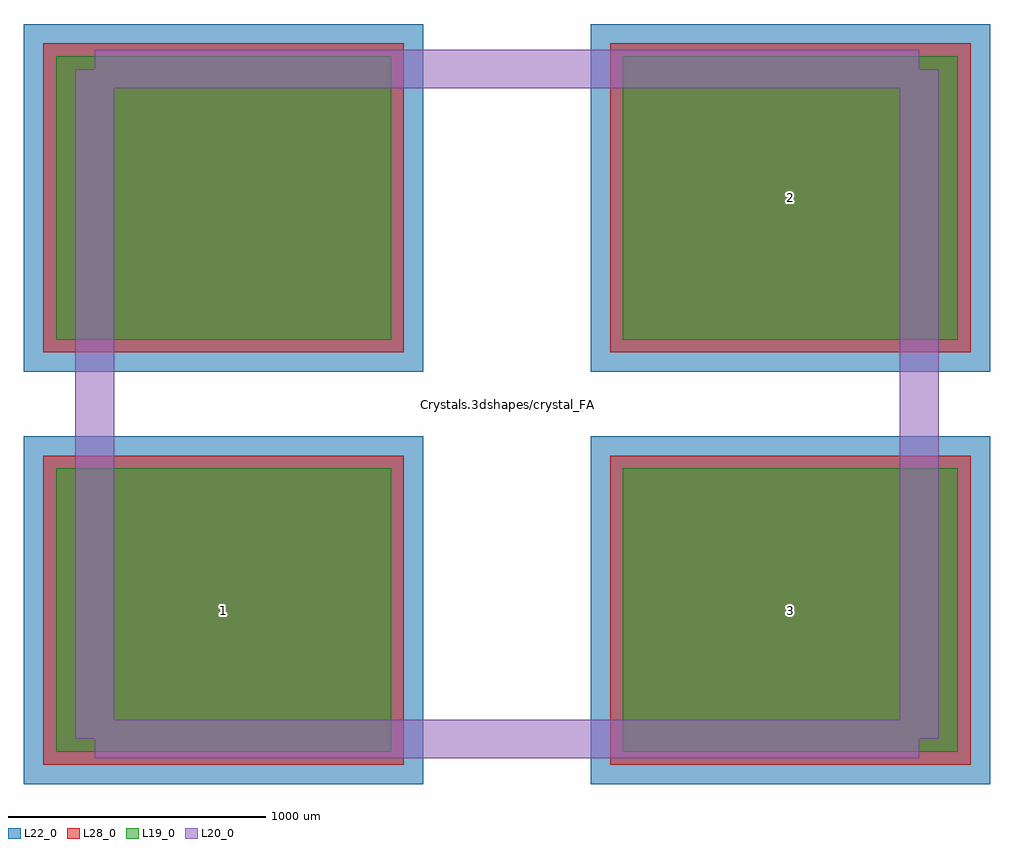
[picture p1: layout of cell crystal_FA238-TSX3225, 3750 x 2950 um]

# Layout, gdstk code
import gdstk
lib = gdstk.Library(unit=1e-6, precision=1e-09)
def R(c, l, rs):  # rectangles x0, y0, x1, y1
    for r in rs: c.add(gdstk.rectangle(r[:2], r[2:], *l))
L19_0 = (19, 0)
L20_0 = (20, 0)
L22_0 = (22, 0)
L28_0 = (28, 0)

crystal_fa238_tsx3225 = lib.new_cell('crystal_FA238-TSX3225')
R(crystal_fa238_tsx3225, L19_0, [(-1750,-1350,-450,-250), (450,-1350,1750,-250), (-1750,250,-450,1350), (450,250,1750,1350)])
R(crystal_fa238_tsx3225, L22_0, [(-1875,-1475,-325,-125), (325,-1475,1875,-125), (-1875,125,-325,1475), (325,125,1875,1475)])
R(crystal_fa238_tsx3225, L28_0, [(-1800,-1400,-400,-200), (400,-1400,1800,-200), (-1800,200,-400,1400), (400,200,1800,1400)])
crystal_fa238_tsx3225.add(gdstk.FlexPath([(-1600,-1300),(-1600,1300)], 149.998, ends="flush", simple_path=True, layer=20, datatype=0))  # L20_0
crystal_fa238_tsx3225.add(gdstk.FlexPath([(1600,-1300),(-1600,-1300)], 149.998, ends="flush", simple_path=True, layer=20, datatype=0))  # L20_0
crystal_fa238_tsx3225.add(gdstk.FlexPath([(1600,1300),(1600,-1300)], 149.998, ends="flush", simple_path=True, layer=20, datatype=0))  # L20_0
crystal_fa238_tsx3225.add(gdstk.FlexPath([(-1600,1300),(1600,1300)], 149.998, ends="flush", simple_path=True, layer=20, datatype=0))  # L20_0
crystal_fa238_tsx3225.add(gdstk.Label('Crystals.3dshapes/crystal_FA238-TSX3225.wrl', (0,0), layer=12, texttype=0))
crystal_fa238_tsx3225.add(gdstk.Label('2', (1100,800), layer=28, texttype=0))
crystal_fa238_tsx3225.add(gdstk.Label('3', (1100,-800), layer=28, texttype=0))
crystal_fa238_tsx3225.add(gdstk.Label('1', (-1100,-800), layer=28, texttype=0))
crystal_fa238_tsx3225.add(gdstk.Label('type', (200,-2300), layer=9, texttype=0))
crystal_fa238_tsx3225.add(gdstk.Label('devicename', (-100,2300), layer=9, texttype=0))

lib.write_gds('crystal_FA238-TSX3225.gds')
